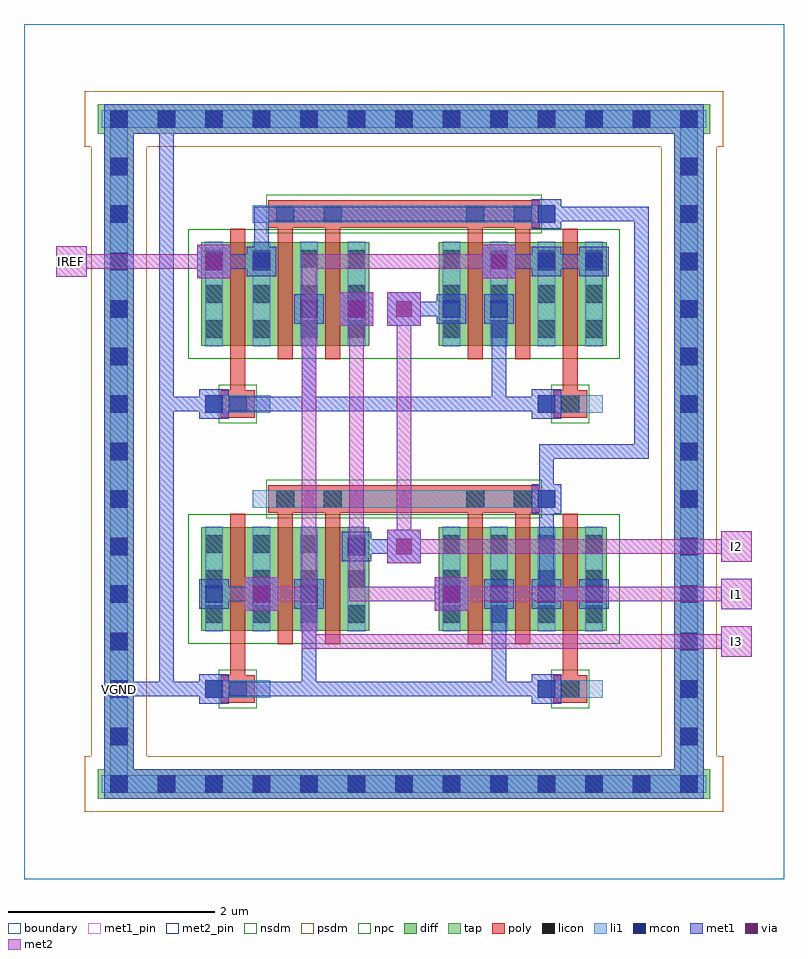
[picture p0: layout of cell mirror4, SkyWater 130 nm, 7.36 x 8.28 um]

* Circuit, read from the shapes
.subckt mirror4 I1 I2 I3 IREF VGND
XM1 I3 VGND I3 VGND sky130_fd_pr__nfet_01v8 w=1 l=0.15 m=2
XM2 IREF VGND IREF VGND sky130_fd_pr__nfet_01v8 w=1 l=0.15 m=2
XM3 VGND IREF I3 VGND sky130_fd_pr__nfet_01v8 w=1 l=0.15 m=2
XM4 VGND IREF IREF VGND sky130_fd_pr__nfet_01v8 w=1 l=0.15 m=2
XM5 I2 IREF VGND VGND sky130_fd_pr__nfet_01v8 w=1 l=0.15 m=2
XM6 I1 IREF VGND VGND sky130_fd_pr__nfet_01v8 w=1 l=0.15 m=2
.ends

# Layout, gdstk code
import gdstk
lib = gdstk.Library(unit=1e-6, precision=1e-09)
def R(c, l, rs):  # rectangles x0, y0, x1, y1
    for r in rs: c.add(gdstk.rectangle(r[:2], r[2:], *l))
def A(c, l, x, y, w, h, nx, ny, dx, dy):  # array of equal rectangles
    R(c, l, [(x+i*dx, y+j*dy, x+i*dx+w, y+j*dy+h) for i in range(nx) for j in range(ny)])
diff = (65, 20)
tap = (65, 44)
poly = (66, 20)
licon = (66, 44)
li1 = (67, 20)
mcon = (67, 44)
met1_pin = (68, 16)
met1 = (68, 20)
via = (68, 44)
met2_pin = (69, 16)
met2 = (69, 20)
nsdm = (93, 44)
psdm = (94, 20)
npc = (95, 20)
boundary = (235, 4)

mirror4 = lib.new_cell('mirror4')
R(mirror4, diff, [(1.715,2.405,3.345,3.405), (4.015,2.405,5.645,3.405), (1.715,5.165,3.345,6.165), (4.015,5.165,5.645,6.165)])
R(mirror4, tap, [(0.715,0.775,6.645,1.065), (0.775,0.775,1.065,7.505), (6.295,0.775,6.585,7.505), (0.715,7.215,6.645,7.505)])
R(mirror4, poly, [(1.905,1.705,2.235,1.975), (5.125,1.705,5.455,1.975), (1.995,1.84,2.145,3.535), (5.215,1.84,5.365,3.535), (2.455,2.275,2.605,3.68), (2.915,2.275,3.065,3.68), (4.295,2.275,4.445,3.68), (4.755,2.275,4.905,3.68), (2.365,3.545,4.995,3.815), (1.905,4.465,2.235,4.735), (5.125,4.465,5.455,4.735), (1.995,4.6,2.145,6.295), (5.215,4.6,5.365,6.295), (2.455,5.035,2.605,6.44), (2.915,5.035,3.065,6.44), (4.295,5.035,4.445,6.44), (4.755,5.035,4.905,6.44), (2.365,6.305,4.995,6.575)])
A(mirror4, licon, 0.835, 0.835, 0.17, 0.17, 13, 2, 0.46, 6.44)
A(mirror4, licon, 0.835, 1.295, 0.17, 0.17, 1, 13, 0, 0.46)
A(mirror4, licon, 6.355, 1.295, 0.17, 0.17, 1, 13, 0, 0.46)
A(mirror4, licon, 1.755, 2.48, 0.17, 0.17, 4, 3, 0.46, 0.34)
A(mirror4, licon, 4.055, 2.48, 0.17, 0.17, 4, 3, 0.46, 0.34)
A(mirror4, licon, 1.755, 5.24, 0.17, 0.17, 4, 3, 0.46, 0.34)
A(mirror4, licon, 4.055, 5.24, 0.17, 0.17, 4, 3, 0.46, 0.34)
R(mirror4, licon, [(1.985,1.755,2.155,1.925), (5.205,1.755,5.375,1.925), (2.445,3.595,2.615,3.765), (2.905,3.595,3.075,3.765), (4.285,3.595,4.455,3.765), (4.745,3.595,4.915,3.765), (1.985,4.515,2.155,4.685), (5.205,4.515,5.375,4.685), (2.445,6.355,2.615,6.525), (2.905,6.355,3.075,6.525), (4.285,6.355,4.455,6.525), (4.745,6.355,4.915,6.525)])
A(mirror4, li1, 1.755, 2.4, 0.17, 1.01, 4, 2, 0.46, 2.76)
A(mirror4, li1, 4.055, 2.4, 0.17, 1.01, 4, 2, 0.46, 2.76)
R(mirror4, li1, [(0.755,0.835,6.605,1.005), (0.835,0.835,1.005,7.445), (6.355,0.835,6.525,7.445), (1.755,1.755,2.385,1.925), (4.975,1.755,5.605,1.925), (2.215,3.595,5.145,3.765), (1.755,4.515,2.385,4.685), (4.975,4.515,5.605,4.685), (2.215,6.355,5.145,6.525), (0.755,7.275,6.605,7.445)])
A(mirror4, mcon, 0.835, 0.835, 0.17, 0.17, 13, 2, 0.46, 6.44)
A(mirror4, mcon, 0.835, 1.295, 0.17, 0.17, 1, 13, 0, 0.46)
A(mirror4, mcon, 6.355, 1.295, 0.17, 0.17, 1, 13, 0, 0.46)
A(mirror4, mcon, 1.755, 2.675, 0.17, 0.17, 3, 1, 0.46, 0)
A(mirror4, mcon, 4.055, 2.675, 0.17, 0.17, 4, 1, 0.46, 0)
R(mirror4, mcon, [(1.755,1.755,1.925,1.925), (4.975,1.755,5.145,1.925), (3.135,3.135,3.305,3.305), (4.975,3.595,5.145,3.765), (1.755,4.515,1.925,4.685), (4.975,4.515,5.145,4.685), (2.675,5.435,2.845,5.605), (3.135,5.435,3.305,5.605), (4.055,5.435,4.225,5.605), (4.515,5.435,4.685,5.605), (1.755,5.895,1.925,6.065), (2.215,5.895,2.385,6.065), (4.975,5.895,5.145,6.065), (5.435,5.895,5.605,6.065), (4.975,6.355,5.145,6.525)])
R(mirror4, met1_pin, [(0.85,1.77,0.99,1.91)])
A(mirror4, met1, 1.695, 2.615, 0.29, 0.29, 3, 1, 0.46, 0)
A(mirror4, met1, 3.995, 2.615, 0.29, 0.29, 4, 1, 0.46, 0)
R(mirror4, met1, [(0.775,0.775,6.585,1.065), (0.775,0.775,1.065,7.505), (6.295,0.775,6.585,7.505), (1.695,1.695,1.985,1.985), (4.915,1.695,5.205,1.985), (0.85,1.77,0.99,1.91), (0.85,1.77,1.91,1.91), (1.31,1.77,1.45,4.67), (1.77,1.77,2.83,1.91), (2.69,1.77,2.83,2.83), (2.69,1.77,5.13,1.91), (4.53,1.77,4.67,2.83), (2.14,2.6,2.46,2.92), (3.98,2.6,4.3,2.92), (1.77,2.69,2.37,2.83), (4.99,2.69,5.59,2.83), (4.99,2.69,5.13,3.75), (3.52,3.06,3.84,3.38), (3.075,3.075,3.365,3.365), (3.15,3.15,3.75,3.29), (4.915,3.535,5.205,3.825), (4.99,3.61,5.13,4.21), (4.99,4.07,6.05,4.21), (5.91,4.07,6.05,6.51), (1.695,4.455,1.985,4.745), (4.915,4.455,5.205,4.745), (1.31,4.53,1.91,4.67), (1.31,4.53,1.45,7.43), (1.77,4.53,2.83,4.67), (2.69,4.53,2.83,5.59), (2.69,4.53,5.13,4.67), (4.53,4.53,4.67,5.59), (3.06,5.36,3.38,5.68), (3.52,5.36,3.84,5.68), (2.615,5.375,2.905,5.665), (3.075,5.375,3.365,5.665), (3.995,5.375,4.285,5.665), (4.455,5.375,4.745,5.665), (3.61,5.45,4.21,5.59), (1.68,5.82,2,6.14), (4.44,5.82,4.76,6.14), (1.695,5.835,1.985,6.125), (2.155,5.835,2.445,6.125), (4.915,5.835,5.205,6.125), (5.375,5.835,5.665,6.125), (1.77,5.91,2.37,6.05), (2.23,5.91,2.37,6.51), (4.53,5.91,5.13,6.05), (4.99,5.91,5.59,6.05), (4.915,6.295,5.205,6.585), (2.23,6.37,5.13,6.51), (4.99,6.37,6.05,6.51), (0.775,7.215,6.585,7.505), (1.31,7.29,1.45,7.43)])
R(mirror4, via, [(2.225,2.685,2.375,2.835), (4.065,2.685,4.215,2.835), (3.605,3.145,3.755,3.295), (3.145,5.445,3.295,5.595), (3.605,5.445,3.755,5.595), (1.765,5.905,1.915,6.055), (4.525,5.905,4.675,6.055)])
A(mirror4, met2_pin, 6.75, 2.15, 0.3, 0.3, 1, 3, 0, 0.46)
R(mirror4, met2_pin, [(0.31,5.83,0.61,6.13)])
A(mirror4, met2, 6.75, 2.15, 0.3, 0.3, 1, 3, 0, 0.46)
A(mirror4, met2, 6.83, 2.23, 0.14, 0.14, 1, 3, 0, 0.46)
R(mirror4, met2, [(2.69,2.23,2.83,2.83), (2.69,2.23,6.97,2.37), (2.14,2.6,2.46,2.92), (3.98,2.6,4.3,2.92), (2.23,2.69,2.83,2.83), (2.69,2.69,2.83,6.05), (3.15,2.69,4.21,2.83), (3.15,2.69,3.29,5.59), (4.07,2.69,6.97,2.83), (3.52,3.06,3.84,3.38), (3.61,3.15,3.75,5.59), (3.61,3.15,6.97,3.29), (3.06,5.36,3.38,5.68), (3.52,5.36,3.84,5.68), (1.68,5.82,2,6.14), (4.44,5.82,4.76,6.14), (0.31,5.83,0.61,6.13), (0.39,5.91,0.53,6.05), (0.39,5.91,1.91,6.05), (2.69,5.91,4.67,6.05)])
R(mirror4, nsdm, [(1.59,2.28,5.77,3.53), (1.59,5.04,5.77,6.29)])
R(mirror4, psdm, [(0.59,0.65,6.77,1.19), (0.65,1.19,1.19,7.09), (6.17,1.19,6.71,7.09), (0.59,7.09,6.77,7.63)])
R(mirror4, npc, [(1.885,1.655,2.255,2.025), (5.105,1.655,5.475,2.025), (2.345,3.495,5.015,3.865), (1.885,4.415,2.255,4.785), (5.105,4.415,5.475,4.785), (2.345,6.255,5.015,6.625)])
R(mirror4, boundary, [(0,0,7.36,8.28)])
mirror4.add(gdstk.Label('VGND', (0.92,1.84), layer=68, texttype=5))
mirror4.add(gdstk.Label('IREF', (0.46,5.98), layer=69, texttype=5))
mirror4.add(gdstk.Label('I1', (6.9,2.76), layer=69, texttype=5))
mirror4.add(gdstk.Label('I2', (6.9,3.22), layer=69, texttype=5))
mirror4.add(gdstk.Label('I3', (6.9,2.3), layer=69, texttype=5))
mirror4.add(gdstk.Label('VGND', (0.92,1.84), layer=68, texttype=16))
mirror4.add(gdstk.Label('IREF', (0.46,5.98), layer=69, texttype=16))
mirror4.add(gdstk.Label('I1', (6.9,2.76), layer=69, texttype=16))
mirror4.add(gdstk.Label('I2', (6.9,3.22), layer=69, texttype=16))
mirror4.add(gdstk.Label('I3', (6.9,2.3), layer=69, texttype=16))

lib.write_gds('mirror4.gds')
